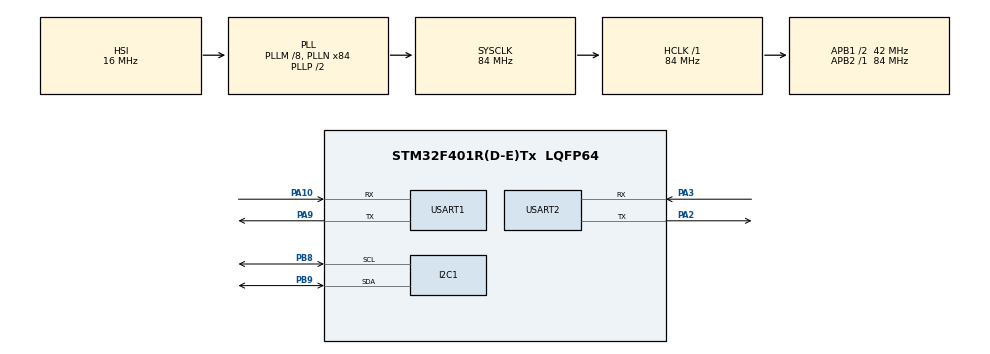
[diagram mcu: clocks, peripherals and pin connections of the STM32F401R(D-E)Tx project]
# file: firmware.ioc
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Mcu.Family=STM32F4
Mcu.Name=STM32F401R(D-E)Tx
Mcu.Package=LQFP64
NVIC.PriorityGroup=NVIC_PRIORITYGROUP_4
PA10.Mode=Asynchronous
PA10.Signal=USART1_RX
PA2.Mode=Asynchronous
PA2.Signal=USART2_TX
PA3.Mode=Asynchronous
PA3.Signal=USART2_RX
PA9.Mode=Asynchronous
PA9.Signal=USART1_TX
PB8.Mode=I2C
PB8.Signal=I2C1_SCL
PB9.Mode=I2C
PB9.Signal=I2C1_SDA
ProjectManager.HeapSize=0x200
ProjectManager.StackSize=0x400
ProjectManager.TargetToolchain=STM32CubeIDE
RCC.48MHZClocksFreq_Value=42000000
RCC.AHBFreq_Value=84000000
RCC.APB1CLKDivider=RCC_HCLK_DIV2
RCC.APB1Freq_Value=42000000
RCC.APB1TimFreq_Value=84000000
RCC.APB2Freq_Value=84000000
RCC.APB2TimFreq_Value=84000000
RCC.CortexFreq_Value=84000000
RCC.HCLKFreq_Value=84000000
RCC.HSE_VALUE=25000000
RCC.HSI_VALUE=16000000
RCC.LSE_VALUE=32768
RCC.PLLM=8
RCC.PLLN=84
RCC.SYSCLKFreq_VALUE=84000000
RCC.SYSCLKSource=RCC_SYSCLKSOURCE_PLLCLK
RCC.VCOOutputFreq_Value=168000000
USART1.VirtualMode=VM_ASYNC
USART2.VirtualMode=VM_ASYNC
board=custom

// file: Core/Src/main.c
/* USER CODE BEGIN Header */
/**
  ******************************************************************************
  * @file           : main.c
  * @brief          : Main program body
  ******************************************************************************
  * @attention
  *
  * Copyright (c) 2026 STMicroelectronics.
  * All rights reserved.
  *
  * This software is licensed under terms that can be found in the LICENSE file
  * in the root directory of this software component.
  * If no LICENSE file comes with this software, it is provided AS-IS.
  *
  ******************************************************************************
  */
/* USER CODE END Header */
#include "main.h"

/* USER CODE BEGIN PD */
#define MPU_ADDR      (0x68 << 1)   // HAL uses 8-bit addresses
#define REG_WHO_AM_I  0x75
#define REG_PWR_MGMT1 0x6B
#define REG_ACCEL_XOUT 0x3B

/* USER CODE END PD */

I2C_HandleTypeDef hi2c1;

UART_HandleTypeDef huart1;
UART_HandleTypeDef huart2;

void SystemClock_Config(void);
static void MX_GPIO_Init(void);
static void MX_I2C1_Init(void);
static void MX_USART2_UART_Init(void);
static void MX_USART1_UART_Init(void);
/* USER CODE BEGIN PFP */
void i2c_bus_recover(void);

/* USER CODE END PFP */

/* USER CODE BEGIN 0 */
#include <stdio.h>
#include <math.h>

/**
 * @brief redirects MPU printing to usart 2, idk default for now
 */
int __io_putchar(int ch) {
    HAL_UART_Transmit(&huart2, (uint8_t *)&ch, 1, HAL_MAX_DELAY);
    return ch;
}

/* USER CODE END 0 */

int main(void)
{

  /* MCU Configuration--------------------------------------------------------*/

  /* Reset of all peripherals, Initializes the Flash interface and the Systick. */
  HAL_Init();

  /* Configure the system clock */
  SystemClock_Config();

  /* Initialize all configured peripherals */
  MX_GPIO_Init();
  MX_I2C1_Init();
  MX_USART2_UART_Init();
  MX_USART1_UART_Init();
  /* USER CODE BEGIN 2 */
  printf("\r\n--- MPU-6050 bring-up ---\r\n");

  uint8_t who = 0;
  HAL_I2C_Mem_Read(&hi2c1, MPU_ADDR, REG_WHO_AM_I, 1, &who, 1, 100);
  printf("WHO_AM_I = 0x%02X (expect 0x68)\r\n", who);

  if (who == 0x68) {
      uint8_t wake = 0x00; // clear sleep bit
      HAL_I2C_Mem_Write(&hi2c1, MPU_ADDR, REG_PWR_MGMT1, 1, &wake, 1, 100);
      printf("MPU awake, streaming...\r\n");
  } else {
      printf("MPU not found - check wiring/pullups\r\n");
  }
  /* USER CODE END 2 */

  /* Infinite loop */
  while (1)
  {

    /* USER CODE BEGIN 3 */
	  // this reads sensor and converts to tilt angles. single i2c read can pull all at once
	  uint8_t buf[6];

	  HAL_StatusTypeDef st = HAL_I2C_Mem_Read(&hi2c1, MPU_ADDR, REG_ACCEL_XOUT, 1, buf, 6, 100);
	  if (st != HAL_OK) {
	      printf("I2C recover\r\n");
	      i2c_bus_recover();
	      HAL_Delay(10);
	      continue;
	  }

	  // added bus recovery when we detect all 0's (probably from VCC drop)
	  if (buf[0]==0 && buf[1]==0 && buf[2]==0 && buf[3]==0 && buf[4]==0 && buf[5]==0) {
	      printf("sensor asleep, re-waking\r\n");
	      uint8_t wake = 0x00;
	      HAL_I2C_Mem_Write(&hi2c1, MPU_ADDR, REG_PWR_MGMT1, 1, &wake, 1, 100);
	      HAL_Delay(10);
	      continue;
	  }

	  // grab 6 bytes from MPU starting at register 0x3B.
	  // this is split into x,y,z and and split across 2 bytes.
	  int16_t ax = (buf[0] << 8) | buf[1];
	  int16_t ay = (buf[2] << 8) | buf[3];
	  int16_t az = (buf[4] << 8) | buf[5];

	  // tilt math. referenced data sheet and \ axis comes as two separate bytes
	  // this stitches them back into one signed 16-bit number
	  float axg = ax / 16384.0f, ayg = ay / 16384.0f, azg = az / 16384.0f;
	  float roll  = atan2f(ayg, azg) * 57.2958f;
	  float pitch = atan2f(-axg, sqrtf(ayg*ayg + azg*azg)) * 57.2958f;

	  // packing roll and pitch into a frame.........
	  char frame[40];
	  int len = snprintf(frame, sizeof(frame), "R:%.1f,P:%.1f\n", roll, pitch);
	  HAL_UART_Transmit(&huart1, (uint8_t*)frame, len, 100);

	  printf("roll=%6.1f  pitch=%6.1f\r\n", roll, pitch);
	  HAL_Delay(500);   // 20 Hz
  }
  /* USER CODE END 3 */
}

void SystemClock_Config(void)
{
  RCC_OscInitTypeDef RCC_OscInitStruct = {0};
  RCC_ClkInitTypeDef RCC_ClkInitStruct = {0};

  /** Configure the main internal regulator output voltage
  */
  __HAL_RCC_PWR_CLK_ENABLE();
  __HAL_PWR_VOLTAGESCALING_CONFIG(PWR_REGULATOR_VOLTAGE_SCALE2);

  /** Initializes the RCC Oscillators according to the specified parameters
  * in the RCC_OscInitTypeDef structure.
  */
  RCC_OscInitStruct.OscillatorType = RCC_OSCILLATORTYPE_HSI;
  RCC_OscInitStruct.HSIState = RCC_HSI_ON;
  RCC_OscInitStruct.HSICalibrationValue = RCC_HSICALIBRATION_DEFAULT;
  RCC_OscInitStruct.PLL.PLLState = RCC_PLL_ON;
  RCC_OscInitStruct.PLL.PLLSource = RCC_PLLSOURCE_HSI;
  RCC_OscInitStruct.PLL.PLLM = 8;
  RCC_OscInitStruct.PLL.PLLN = 84;
  RCC_OscInitStruct.PLL.PLLP = RCC_PLLP_DIV2;
  RCC_OscInitStruct.PLL.PLLQ = 4;
  if (HAL_RCC_OscConfig(&RCC_OscInitStruct) != HAL_OK)
  {
    Error_Handler();
  }

  /** Initializes the CPU, AHB and APB buses clocks
  */
  RCC_ClkInitStruct.ClockType = RCC_CLOCKTYPE_HCLK|RCC_CLOCKTYPE_SYSCLK
                              |RCC_CLOCKTYPE_PCLK1|RCC_CLOCKTYPE_PCLK2;
  RCC_ClkInitStruct.SYSCLKSource = RCC_SYSCLKSOURCE_PLLCLK;
  RCC_ClkInitStruct.AHBCLKDivider = RCC_SYSCLK_DIV1;
  RCC_ClkInitStruct.APB1CLKDivider = RCC_HCLK_DIV2;
  RCC_ClkInitStruct.APB2CLKDivider = RCC_HCLK_DIV1;

  if (HAL_RCC_ClockConfig(&RCC_ClkInitStruct, FLASH_LATENCY_2) != HAL_OK)
  {
    Error_Handler();
  }
}

static void MX_I2C1_Init(void)
{

  hi2c1.Instance = I2C1;
  hi2c1.Init.ClockSpeed = 100000;
  hi2c1.Init.DutyCycle = I2C_DUTYCYCLE_2;
  hi2c1.Init.OwnAddress1 = 0;
  hi2c1.Init.AddressingMode = I2C_ADDRESSINGMODE_7BIT;
  hi2c1.Init.DualAddressMode = I2C_DUALADDRESS_DISABLE;
  hi2c1.Init.OwnAddress2 = 0;
  hi2c1.Init.GeneralCallMode = I2C_GENERALCALL_DISABLE;
  hi2c1.Init.NoStretchMode = I2C_NOSTRETCH_DISABLE;
  if (HAL_I2C_Init(&hi2c1) != HAL_OK)
  {
    Error_Handler();
  }

}

static void MX_USART1_UART_Init(void)
{

  huart1.Instance = USART1;
  huart1.Init.BaudRate = 115200;
  huart1.Init.WordLength = UART_WORDLENGTH_8B;
  huart1.Init.StopBits = UART_STOPBITS_1;
  huart1.Init.Parity = UART_PARITY_NONE;
  huart1.Init.Mode = UART_MODE_TX_RX;
  huart1.Init.HwFlowCtl = UART_HWCONTROL_NONE;
  huart1.Init.OverSampling = UART_OVERSAMPLING_16;
  if (HAL_UART_Init(&huart1) != HAL_OK)
  {
    Error_Handler();
  }

}

static void MX_USART2_UART_Init(void)
{

  huart2.Instance = USART2;
  huart2.Init.BaudRate = 115200;
  huart2.Init.WordLength = UART_WORDLENGTH_8B;
  huart2.Init.StopBits = UART_STOPBITS_1;
  huart2.Init.Parity = UART_PARITY_NONE;
  huart2.Init.Mode = UART_MODE_TX_RX;
  huart2.Init.HwFlowCtl = UART_HWCONTROL_NONE;
  huart2.Init.OverSampling = UART_OVERSAMPLING_16;
  if (HAL_UART_Init(&huart2) != HAL_OK)
  {
    Error_Handler();
  }

}

static void MX_GPIO_Init(void)
{

  /* GPIO Ports Clock Enable */
  __HAL_RCC_GPIOA_CLK_ENABLE();
  __HAL_RCC_GPIOB_CLK_ENABLE();

}

/* USER CODE BEGIN 4 */
void i2c_bus_recover(void) {
    __HAL_RCC_GPIOB_CLK_ENABLE();
    HAL_I2C_DeInit(&hi2c1);
    GPIO_InitTypeDef g = {0};
    g.Pin = GPIO_PIN_8 | GPIO_PIN_9;
    g.Mode = GPIO_MODE_OUTPUT_OD;
    g.Pull = GPIO_PULLUP;
    g.Speed = GPIO_SPEED_FREQ_LOW;
    HAL_GPIO_Init(GPIOB, &g);
    for (int i = 0; i < 9; i++) {
        HAL_GPIO_WritePin(GPIOB, GPIO_PIN_8, GPIO_PIN_RESET);
        HAL_Delay(1);
        HAL_GPIO_WritePin(GPIOB, GPIO_PIN_8, GPIO_PIN_SET);
        HAL_Delay(1);
    }
    MX_I2C1_Init();
}
/* USER CODE END 4 */

void Error_Handler(void)
{
  __disable_irq();
  while (1)
  {
  }
}
